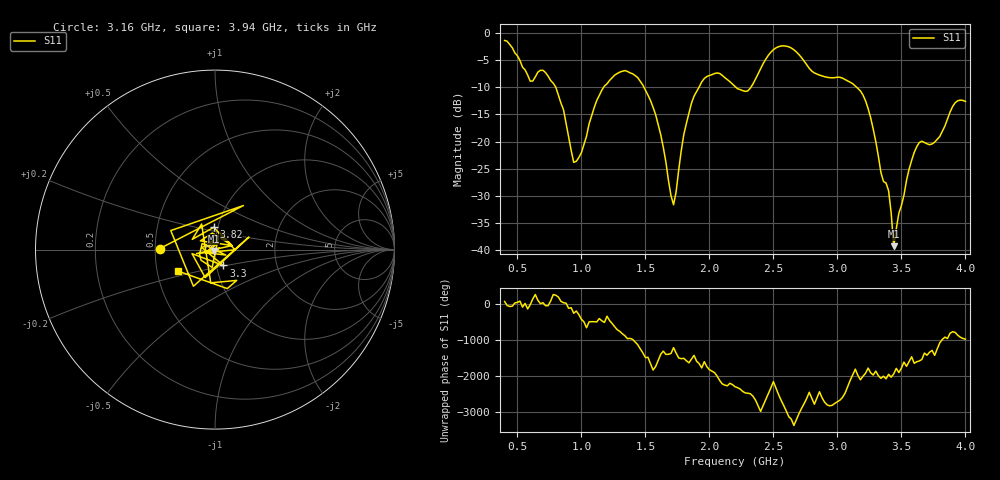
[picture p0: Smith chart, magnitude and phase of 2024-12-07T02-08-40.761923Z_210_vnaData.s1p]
!Created with skrf (http://scikit-rf.org).
# Hz S RI R 50.0
!freq ReS11 ImS11
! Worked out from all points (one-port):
!   181 points, 400 MHz to 4 GHz, reference 50 ohm
!   lowest |S11| = -39.3 dB at 3.44 GHz (marker M1), VSWR 1.02, Z = 49.2 - j0.687 ohm
!   |S11| at or under -10 dB: 800.1 MHz to 1.174 GHz (373.8 MHz wide, 37.9 % of centre); 1.489 GHz to 1.919 GHz (430 MHz wide, 25.2 % of centre); 3.151 GHz to end of sweep (the widest 3 of 4)
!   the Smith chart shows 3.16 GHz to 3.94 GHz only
!   S11 on the Smith chart (normalised r, x): 3.16 GHz: 0.53, +0.01; 3.3 GHz: 1.08, -0.19; 3.82 GHz: 0.96, +0.24; 3.94 GHz: 0.64, -0.16
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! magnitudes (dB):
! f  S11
! 400 MHz  -1.4
! 600 MHz  -8.9
! 720 MHz  -7.3
! 860 MHz  -14.1
! 940 MHz  -23.8
! 960 MHz  -23.6
! 1.12 GHz  -12.4
! 1.3 GHz  -7.2
! 1.54 GHz  -12.5
! 1.62 GHz  -18.8
! 1.72 GHz  -31.7
! 1.76 GHz  -25.3
! 1.86 GHz  -12.9
! 1.94 GHz  -9.0
! 2.2 GHz  -9.8
! 2.3 GHz  -10.7
! 2.52 GHz  -2.7
! 2.66 GHz  -3.1
! 3.1 GHz  -9.1
! 3.16 GHz  -10.2
! 3.3 GHz  -20.0
! 3.4 GHz  -29.1
! 3.44 GHz  -39.3
! 3.56 GHz  -25.1
! 3.64 GHz  -20.2
! 3.82 GHz  -18.1
! 3.94 GHz  -12.5
! 4 GHz  -12.6
